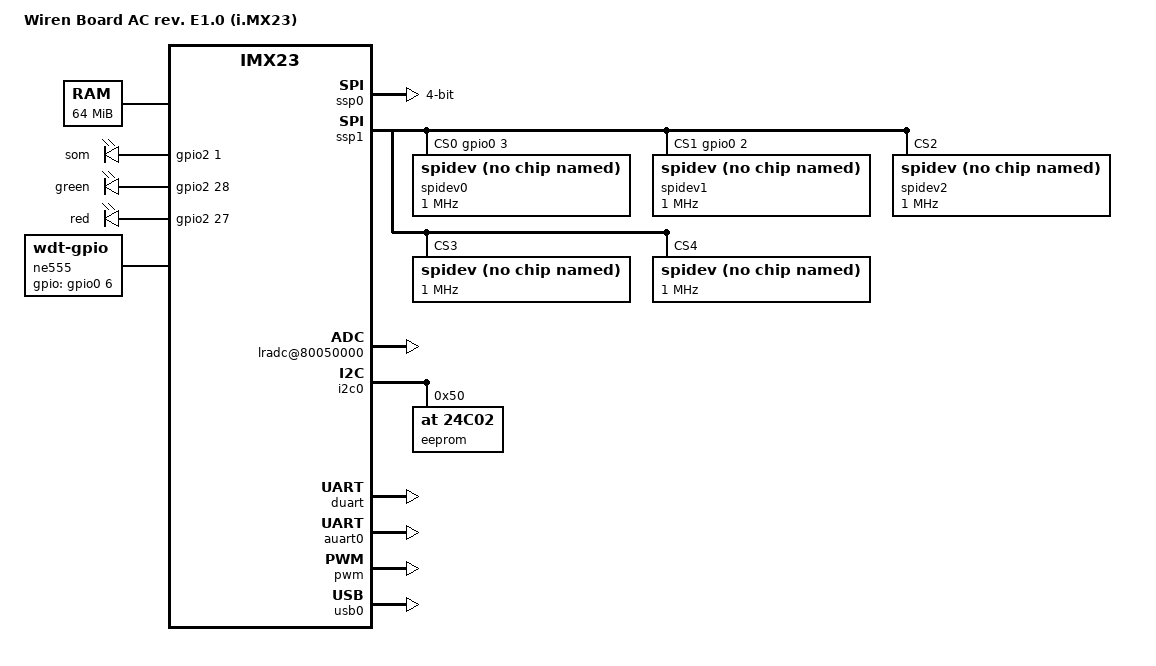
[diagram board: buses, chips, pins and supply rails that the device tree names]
/*
 * Copyright 2012 Freescale Semiconductor, Inc.
 *
 * Author: Fabio Estevam <fabio.estevam@freescale.com>
 *
 * The code contained herein is licensed under the GNU General Public
 * License. You may obtain a copy of the GNU General Public License
 * Version 2 or later at the following locations:
 *
 * http://www.opensource.org/licenses/gpl-license.html
 * http://www.gnu.org/copyleft/gpl.html
 */

/dts-v1/;
#include "imx23.dtsi"

/ {
	model = "Wiren Board AC rev. E1.0 (i.MX23)";
	compatible = "contactless,imx23-wirenboard-ac-e1", "contactless,imx23-wirenboard28", "olimex,imx23-olinuxino", "fsl,imx23";

	memory {
		reg = <0x40000000 0x04000000>;
	};

	apb@80000000 {
		apbh@80000000 {
			ssp0: ssp@80010000 {
				compatible = "fsl,imx23-mmc";
				pinctrl-names = "default";
				pinctrl-0 = <&mmc0_4bit_pins_a &mmc0_pins_fixup>;
				bus-width = <4>;
				broken-cd;
				status = "okay";
			};

			pinctrl@80018000 {
				pinctrl-names = "default";
				pinctrl-0 = <&hog_pins_a &pin_gpio_pu_0_2 &pin_gpio_pu_0_3 &pin_gpio_pu_0_4>;

				hog_pins_a: hog@0 {
					reg = <0>;
					fsl,pinmux-ids = <
						0x2013 /* MX23_PAD_SSP1_DETECT__GPIO_2_1 */
						0x0113 /* MX23_PAD_GPMI_ALE__GPIO_0_17 */
					>;
					fsl,drive-strength = <0>;
					fsl,voltage = <1>;
					fsl,pull-up = <0>;
				};


				pin_gpio_pu_0_2: pin_gpio_pu_0_2@0 {
					reg = <0>;
					fsl,pinmux-ids = <
						0x0023 /* MX23_PAD_GPMI_D02__GPIO_0_2 */

					>;
					fsl,drive-strength = <0>;
					fsl,voltage = <1>;
					/* enable 47K pull-up for TB9 gpio */
					fsl,pull-up = <1>;
				};

				pin_gpio_pu_0_3: pin_gpio_pu_0_3@0 {
					reg = <0>;
					fsl,pinmux-ids = <
						0x0033 /* MX23_PAD_GPMI_D03__GPIO_0_3 */

					>;
					fsl,drive-strength = <0>;
					fsl,voltage = <1>;

					/* enable 47K pull-up for TB10 gpios */
					fsl,pull-up = <1>;
				};

				pin_gpio_pu_0_4: pin_gpio_pu_0_4@0 {
					reg = <0>;
					fsl,pinmux-ids = <
						0x0043 /* MX23_PAD_GPMI_D04__GPIO_0_4 */

					>;
					fsl,drive-strength = <0>;
					fsl,voltage = <1>;
					/* enable 47K pull-up for TB11 gpio */
					fsl,pull-up = <1>;
				};


				led_pin_gpio2_1: led_gpio2_1@0 {
					reg = <0>;
					fsl,pinmux-ids = <
						0x2013 /* MX23_PAD_SSP1_DETECT__GPIO_2_1 */
					>;
					fsl,drive-strength = <0>;
					fsl,voltage = <1>;
					fsl,pull-up = <0>;
				};


				i2c_gpio: i2c_gpio {
					reg = <0>;
					fsl,pinmux-ids = <
						0x0173 // MX23_PAD_GPMI_WPN__GPIO_0_23
						0x0193 // MX23_PAD_GPMI_RDN__GPIO_0_25
					>;
					fsl,pull-up = <1>;
				};

		        i2c0_pins_a_gpio: i2c0_pins_a_gpio {
		           reg = <0>;
		           fsl,pinmux-ids = <
		           0x1173 /* MX23_PAD_LCD_ENABLE__GPIO_1_23 */
		           0x1183 /* MX23_PAD_LCD_HSYNC__GPIO_1_24 */
		           >;
		           fsl,drive-strength = <1>;
		           fsl,voltage = <1>;
		           fsl,pull-up = <1>;
		        };


		        i2c0_pins_a: i2c0@0 {
		           reg = <0>;
		           fsl,pinmux-ids = <
		           0x1171 /* MX23_PAD_LCD_ENABLE__I2C_SCL */
		           0x1181 /* MX23_PAD_LCD_HSYNC__I2C_SDA */
		           >;
		           fsl,drive-strength = <1>;
		           fsl,voltage = <1>;
		           fsl,pull-up = <1>;
		        };

				spi2_pins_nocs: spi2@0 {
					reg = <0>;
					fsl,pinmux-ids = <
						0x0182 /* MX23_PAD_GPMI_WRN__SSP2_SCK */
						0x0142 /* MX23_PAD_GPMI_RDY1__SSP2_CMD */
						0x0002 /* MX23_PAD_GPMI_D00__SSP2_DATA0 */
					>;
					fsl,drive-strength = <1>;
					fsl,voltage = <1>;
					fsl,pull-up = <1>;
				};



			};

			ssp1: ssp@80034000 {
				#address-cells = <1>;
				#size-cells = <0>;
				compatible = "fsl,imx23-spi";
				pinctrl-names = "default";
				pinctrl-0 = <&spi2_pins_nocs>;
				status = "okay";
				cs-gpios = <&gpio0 3 0 /* cs0 fixme: use hardware cs directly*/
							&gpio0 2 0 /* second rfid*/
                            >;



				spidev0: spidev@0 {
					compatible = "spidev";
					spi-max-frequency = <1000000>;
					reg = <0>;
				};


				spidev1: spidev@1 {
					compatible = "spidev";
					spi-max-frequency = <1000000>;
					reg = <1>;
				};

				spidev2: spidev@2 {
					compatible = "spidev";
					spi-max-frequency = <1000000>;
					reg = <2>;
				};


				spidev@3 {
					compatible = "spidev";
					spi-max-frequency = <1000000>;
					reg = <3>;
				};
				spidev@4 {
					compatible = "spidev";
					spi-max-frequency = <1000000>;
					reg = <4>;
				};


			};
		};

		apbx@80040000 {
			lradc@80050000 {
				status = "okay";
			};


			i2c0: i2c@80058000 {
				pinctrl-names = "default";
				pinctrl-0 = <&i2c0_pins_a>;
				status = "okay";

				eeprom@50 {
						compatible = "at,24c02";
						reg = <0x50>;
				};

			};


			duart: serial@80070000 {
				pinctrl-names = "default";
				pinctrl-0 = <&duart_pins_a>;
				status = "okay";
			};

			auart0: serial@8006c000 {
				pinctrl-names = "default";
				pinctrl-0 = <&auart0_2pins_a>;
				status = "okay";
			};

			usbphy0: usbphy@8007c000 {
				status = "okay";
			};

			platform_dai: mxs-builtin-cpu-dai {
				compatible = "fsl,mxs-builtin-cpu-dai";
				reg = <0x80048000 0x2000>, <0x8004c000 0x2000>,
				<0x8005c000 0x2000>;
				reg-names = "audioout", "audioin", "rtc";
				interrupts = <8 6 4>;
				dmas = <&dma_apbx 0>, <&dma_apbx 1>;
				dma-names = "rx", "tx";
			};


			pwm: pwm@80064000 {
		            pinctrl-names = "default";
		            pinctrl-0 = <&pwm2_pins_a>;
		            status = "okay";
		    };






		};
	};

	ahb@80080000 {
		usb0: usb@80080000 {
		    /*vbus-supply = <&reg_33v_bus>;*/
			status = "okay";



		};



	};


	leds {
		compatible = "gpio-leds";
		pinctrl-names = "default";
		pinctrl-0 = <&led_pin_gpio2_1>;

		som {
			label = "som";
			gpios = <&gpio2 1 0>;
			linux,default-trigger = "timer";
		};

		user-green {
			label = "green";
			gpios = <&gpio2 28 0>;
            default-state = "off";
		};

		user-red {
			label = "red";
			gpios = <&gpio2 27 0>;
            default-state = "on";
		};


	};



	ne555: watchdog {
		/* NE555 timer  */
		compatible = "linux,wdt-gpio";
		gpios = <&gpio0 6 0>;
		hw_algo = "toggle";
		hw_margin_ms = <1000>;
		always-enabled;
		timeout-sec = <30>;
	};

};
